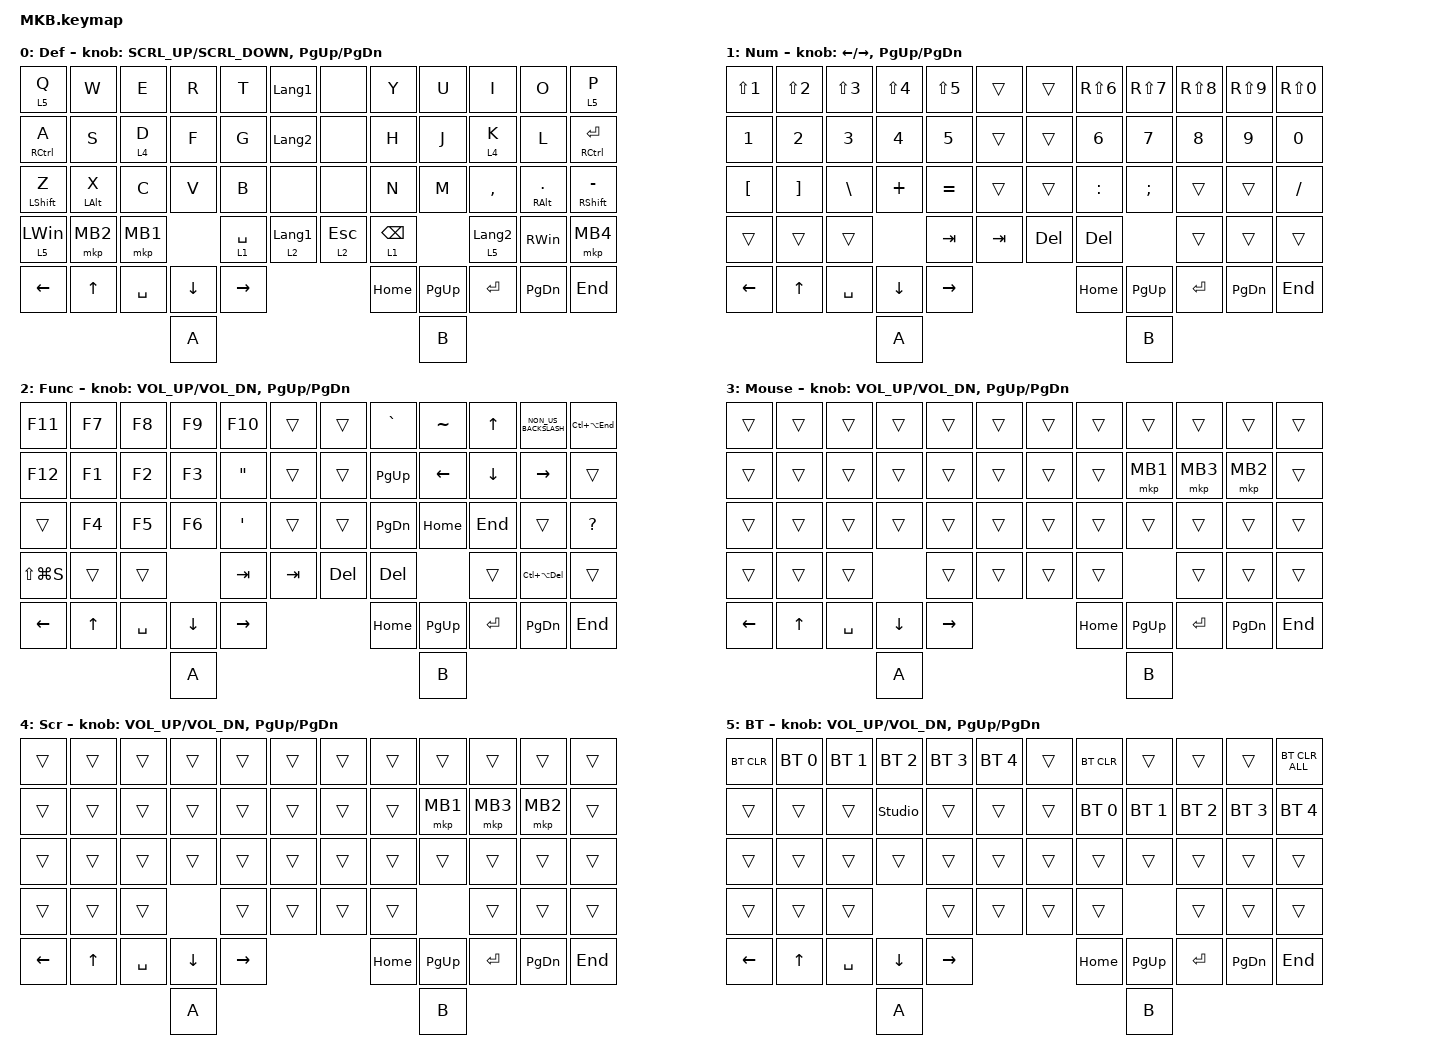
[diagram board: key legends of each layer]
// #include <layout_shift.dtsi>

#include <layout_shift_kp_override.dtsi>
#include <behaviors.dtsi>
#include <dt-bindings/zmk/bt.h>
#include <dt-bindings/zmk/keys.h>
#include <dt-bindings/zmk/pointing.h>

#define DEF 0
#define NUM 1
#define FUNC 2
#define MOUSE 3
#define SCROLL 4
#define BT 5
#define ZMK_POINTING_DEFAULT_SCRL_VAL 100

&mt {
    flavor = "tap-preferred";
    tapping-term-ms = <300>;
};

&lt { tapping-term-ms = <300>; };

/ {
    macros {
        to_layer_0: to_layer_0 {
            compatible = "zmk,behavior-macro-one-param";
            #binding-cells = <1>;
            bindings = <&to 0 &macro_param_1to1 &kp MACRO_PLACEHOLDER>;
            label = "TO_LAYER_0";
        };
    };

    behaviors {
        lt_to_layer_0: lt_to_layer_0 {
            compatible = "zmk,behavior-hold-tap";
            label = "LAYER_TAP_TO_0";
            bindings = <&mo>, <&to_layer_0>;

            #binding-cells = <2>;
            tapping-term-ms = <200>;
        };

        re_kp: sensor_rotate_kp {
            compatible = "zmk,behavior-sensor-rotate-var";
            #sensor-binding-cells = <2>;
            bindings = <&kp>, <&kp>;
        };

        mouse_scrl: mouse_wheel_scrl {
            compatible = "zmk,behavior-sensor-rotate-var";
            #sensor-binding-cells = <2>;
            bindings = <&msc>, <&msc>;

            tap-ms = <20>;
        };
    };
};

/ {
    combos {
        compatible = "zmk,combos";

        mb1 {
            bindings = <&mkp MB1>;
            key-positions = <20 21>;
        };

        mb2 {
            bindings = <&mkp MB2>;
            key-positions = <21 22>;
        };

        mb4 {
            bindings = <&mkp MB4>;
            key-positions = <32 33>;
        };

        lang1 {
            bindings = <&kp LANGUAGE_1>;
            key-positions = <16 15>;
        };

        lang2 {
            bindings = <&kp LANGUAGE_2>;
            key-positions = <15 14>;
        };

        esc {
            bindings = <&kp ESCAPE>;
            key-positions = <19 20>;
        };
    };

    keymap {
        compatible = "zmk,keymap";

        default_layer {
            label = "Def";
            bindings = <
&lt 5 Q           &kp W           &kp E      &kp R     &kp T        &kp LANGUAGE_1        &none         &kp Y            &kp U      &kp I             &kp O                 &lt 5 P
&mt RCTRL A       &kp S           &lt 4 D    &kp F     &kp G        &kp LANGUAGE_2        &none         &kp H            &kp J      &lt 4 K           &kp L                 &mt RCTRL ENTER
&mt LEFT_SHIFT Z  &mt LEFT_ALT X  &kp C      &kp V     &kp B        &none                 &none         &kp N            &kp M      &kp COMMA         &mt RIGHT_ALT PERIOD  &mt RIGHT_SHIFT MINUS
&lt 5 LEFT_WIN    &mkp MB2        &mkp MB1             &lt 1 SPACE  &lt 2 LANGUAGE_1      &lt 2 ESCAPE  &lt 1 BACKSPACE             &lt 5 LANGUAGE_2  &kp RIGHT_WIN         &mkp MB4
&kp LEFT          &kp UP          &kp SPACE  &kp DOWN  &kp RIGHT                                        &kp HOME         &kp PG_UP  &kp ENTER         &kp PG_DN             &kp END
                                             &kp A                                                                       &kp B
            >;

            sensor-bindings = <&mouse_scrl SCRL_UP SCRL_DOWN &inc_dec_kp PG_UP PG_DN>;
        };

        num_layer {
            label = "Num";
            bindings = <
&kp LS(NUMBER_1)  &kp LS(NUMBER_2)   &kp LS(NUMBER_3)  &kp LS(NUMBER_4)  &kp LS(NUMBER_5)  &trans       &trans      &kp RS(NUMBER_6)  &kp RS(NUMBER_7)  &kp RS(NUMBER_8)  &kp RS(NUMBER_9)  &kp RS(NUMBER_0)
&kp NUMBER_1      &kp NUMBER_2       &kp NUMBER_3      &kp NUMBER_4      &kp NUMBER_5      &trans       &trans      &kp NUMBER_6      &kp NUMBER_7      &kp NUMBER_8      &kp NUMBER_9      &kp NUMBER_0
&kp LEFT_BRACKET  &kp RIGHT_BRACKET  &kp BACKSLASH     &kp PLUS          &kp EQUAL         &trans       &trans      &kp COLON         &kp SEMICOLON     &trans            &trans            &kp SLASH
&trans            &trans             &trans                              &kp TAB           &kp TAB      &kp DELETE  &kp DELETE                          &trans            &trans            &trans
&kp LEFT          &kp UP             &kp SPACE         &kp DOWN          &kp RIGHT                                  &kp HOME          &kp PG_UP         &kp ENTER         &kp PG_DN         &kp END
                                                       &kp A                                                                          &kp B
            >;

            sensor-bindings =
                <&inc_dec_kp LEFT_ARROW RIGHT_ARROW>,
                <&inc_dec_kp PG_UP PG_DN>;
        };

        function_layer {
            label = "Func";
            bindings = <
&kp F11        &kp F7  &kp F8     &kp F9    &kp F10            &trans       &trans      &kp GRAVE      &kp TILDE       &kp UP_ARROW    &kp NON_US_BACKSLASH  &kp LC(LA(END))
&kp F12        &kp F1  &kp F2     &kp F3    &kp DOUBLE_QUOTES  &trans       &trans      &kp PAGE_UP    &kp LEFT_ARROW  &kp DOWN_ARROW  &kp RIGHT_ARROW       &trans
&trans         &kp F4  &kp F5     &kp F6    &kp SQT            &trans       &trans      &kp PAGE_DOWN  &kp HOME        &kp END         &trans                &kp QUESTION
&kp LS(LG(S))  &trans  &trans               &kp TAB            &kp TAB      &kp DELETE  &kp DELETE                     &trans          &kp LC(LA(DELETE))    &trans
&kp LEFT       &kp UP  &kp SPACE  &kp DOWN  &kp RIGHT                                   &kp HOME       &kp PG_UP       &kp ENTER       &kp PG_DN             &kp END
                                  &kp A                                                                &kp B
            >;

            sensor-bindings = <&inc_dec_kp C_VOL_UP C_VOL_DN &inc_dec_kp PG_UP PG_DN>;
        };

        mouse_layer {
            label = "Mouse";
            bindings = <
&trans    &trans  &trans     &trans    &trans     &trans      &trans  &trans    &trans     &trans     &trans     &trans
&trans    &trans  &trans     &trans    &trans     &trans      &trans  &trans    &mkp MB1   &mkp MB3   &mkp MB2   &trans
&trans    &trans  &trans     &trans    &trans     &trans      &trans  &trans    &trans     &trans     &trans     &trans
&trans    &trans  &trans               &trans     &trans      &trans  &trans               &trans     &trans     &trans
&kp LEFT  &kp UP  &kp SPACE  &kp DOWN  &kp RIGHT                      &kp HOME  &kp PG_UP  &kp ENTER  &kp PG_DN  &kp END
                             &kp A                                              &kp B
            >;

            sensor-bindings = <&inc_dec_kp C_VOL_UP C_VOL_DN &inc_dec_kp PG_UP PG_DN>;
        };

        scroll_layer {
            label = "Scr";
            bindings = <
&trans    &trans  &trans     &trans    &trans     &trans      &trans  &trans    &trans     &trans     &trans     &trans
&trans    &trans  &trans     &trans    &trans     &trans      &trans  &trans    &mkp MB1   &mkp MB3   &mkp MB2   &trans
&trans    &trans  &trans     &trans    &trans     &trans      &trans  &trans    &trans     &trans     &trans     &trans
&trans    &trans  &trans               &trans     &trans      &trans  &trans               &trans     &trans     &trans
&kp LEFT  &kp UP  &kp SPACE  &kp DOWN  &kp RIGHT                      &kp HOME  &kp PG_UP  &kp ENTER  &kp PG_DN  &kp END
                             &kp A                                              &kp B
            >;

            sensor-bindings = <&inc_dec_kp C_VOL_UP C_VOL_DN &inc_dec_kp PG_UP PG_DN>;
        };

        bt_layer {
            label = "BT";
            bindings = <
&bt BT_CLR  &bt BT_SEL 0  &bt BT_SEL 1  &bt BT_SEL 2    &bt BT_SEL 3  &bt BT_SEL 4      &trans  &bt BT_CLR    &trans        &trans        &trans        &bt BT_CLR_ALL
&trans      &trans        &trans        &studio_unlock  &trans        &trans            &trans  &bt BT_SEL 0  &bt BT_SEL 1  &bt BT_SEL 2  &bt BT_SEL 3  &bt BT_SEL 4
&trans      &trans        &trans        &trans          &trans        &trans            &trans  &trans        &trans        &trans        &trans        &trans
&trans      &trans        &trans                        &trans        &trans            &trans  &trans                      &trans        &trans        &trans
&kp LEFT    &kp UP        &kp SPACE     &kp DOWN        &kp RIGHT                               &kp HOME      &kp PG_UP     &kp ENTER     &kp PG_DN     &kp END
                                        &kp A                                                                 &kp B
            >;

            sensor-bindings = <&inc_dec_kp C_VOL_UP C_VOL_DN &inc_dec_kp PG_UP PG_DN>;
        };
    };
};
